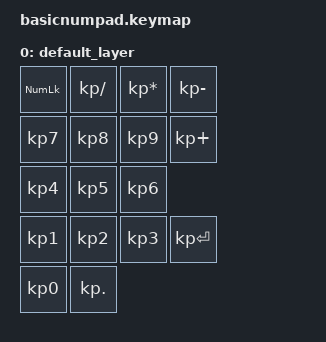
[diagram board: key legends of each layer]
#include <behaviors.dtsi>
#include <dt-bindings/zmk/keys.h>

/ {
    keymap {
        compatible = "zmk,keymap";

        default_layer {
            bindings = <
                &kp KP_NUMLOCK     &kp KP_SLASH       &kp KP_ASTERISK    &kp KP_MINUS
                &kp KP_NUMBER_7    &kp KP_NUMBER_8    &kp KP_NUMBER_9    &kp KP_PLUS
                &kp KP_NUMBER_4    &kp KP_NUMBER_5    &kp KP_NUMBER_6
                &kp KP_NUMBER_1    &kp KP_NUMBER_2    &kp KP_NUMBER_3    &kp KP_ENTER
                &kp KP_NUMBER_0    &kp KP_DOT
            >;
        };
    };
};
